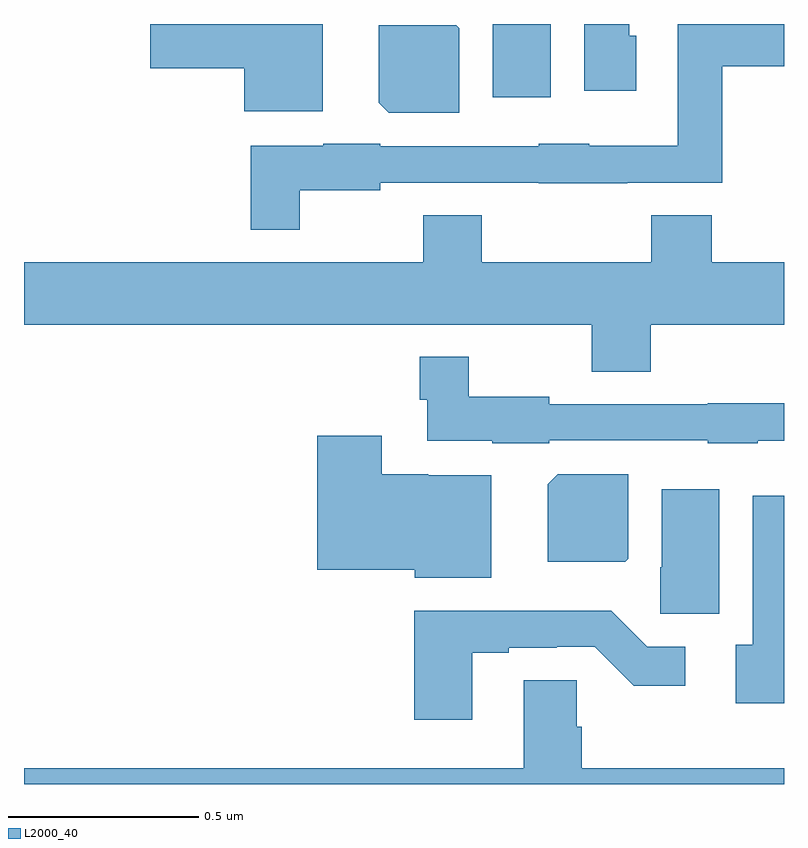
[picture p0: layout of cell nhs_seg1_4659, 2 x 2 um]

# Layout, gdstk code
import gdstk
lib = gdstk.Library(unit=1e-6, precision=1e-09)
def R(c, l, rs):  # rectangles x0, y0, x1, y1
    for r in rs: c.add(gdstk.rectangle(r[:2], r[2:], *l))
def P(c, l, *ps):  # polygons
    for p in ps: c.add(gdstk.Polygon(p, *l))
L2000_40 = (2000, 40)

nhs_seg1_4659 = lib.new_cell('nhs_seg1_4659')
R(nhs_seg1_4659, L2000_40, [(170.234,543.006,170.386,543.199)])
P(nhs_seg1_4659, L2000_40, [(170.611,543.168),(170.593,543.168),(170.593,543.199),(170.474,543.199),(170.474,543.024),(170.611,543.024)],
  [(169.786,543.199),(169.332,543.199),(169.332,543.083),(169.58,543.083),(169.58,542.969),(169.786,542.969)],
  [(169.726,542.762),(169.938,542.762),(169.938,542.781),(170.355,542.781),(170.355,542.78),(170.587,542.78),(170.587,542.781),(170.837,542.781),(170.837,543.088),(171,543.088),(171,543.199),(170.721,543.199),(170.721,542.878),(170.487,542.878),(170.487,542.884),(170.355,542.884),(170.355,542.877),(169.938,542.877),(169.938,542.884),(169.788,542.884),(169.788,542.878),(169.597,542.878),(169.597,542.657),(169.726,542.657)],
  [(170.146,543.188),(170.138,543.196),(169.934,543.196),(169.934,542.992),(169.96,542.966),(170.146,542.966)],
  [(170.649,542.408),(171,542.408),(171,542.572),(170.81,542.572),(170.81,542.696),(170.65,542.696),(170.65,542.572),(170.205,542.572),(170.205,542.696),(170.05,542.696),(170.05,542.572),(169,542.572),(169,542.408),(170.494,542.408),(170.494,542.284),(170.649,542.284)],
  [(170.382,542.103),(170.799,542.103),(170.799,542.096),(170.931,542.096),(170.931,542.102),(171,542.102),(171,542.201),(170.799,542.201),(170.799,542.199),(170.382,542.199),(170.382,542.218),(170.17,542.218),(170.17,542.323),(170.041,542.323),(170.041,542.21),(170.061,542.21),(170.061,542.102),(170.232,542.102),(170.232,542.096),(170.382,542.096)],
  [(170.23,542.012),(170.064,542.012),(170.064,542.014),(169.942,542.014),(169.942,542.116),(169.772,542.116),(169.772,541.763),(170.028,541.763),(170.028,541.742),(170.23,541.742)],
  [(170.59,541.792),(170.59,542.014),(170.404,542.014),(170.378,541.988),(170.378,541.784),(170.582,541.784)],
  [(170.83,541.975),(170.678,541.975),(170.678,541.77),(170.674,541.77),(170.674,541.647),(170.83,541.647)],
  [(171,541.957),(170.918,541.957),(170.918,541.566),(170.873,541.566),(170.873,541.412),(171,541.412)],
  [(170.179,541.545),(170.275,541.545),(170.275,541.557),(170.402,541.557),(170.402,541.56),(170.502,541.56),(170.605,541.458),(170.74,541.458),(170.74,541.56),(170.64,541.56),(170.545,541.655),(170.027,541.655),(170.027,541.368),(170.179,541.368)],
  [(171,541.24),(170.468,541.24),(170.468,541.35),(170.454,541.35),(170.454,541.472),(170.315,541.472),(170.315,541.24),(169,541.24),(169,541.199),(171,541.199)])

lib.write_gds('nhs_seg1_4659.gds')
